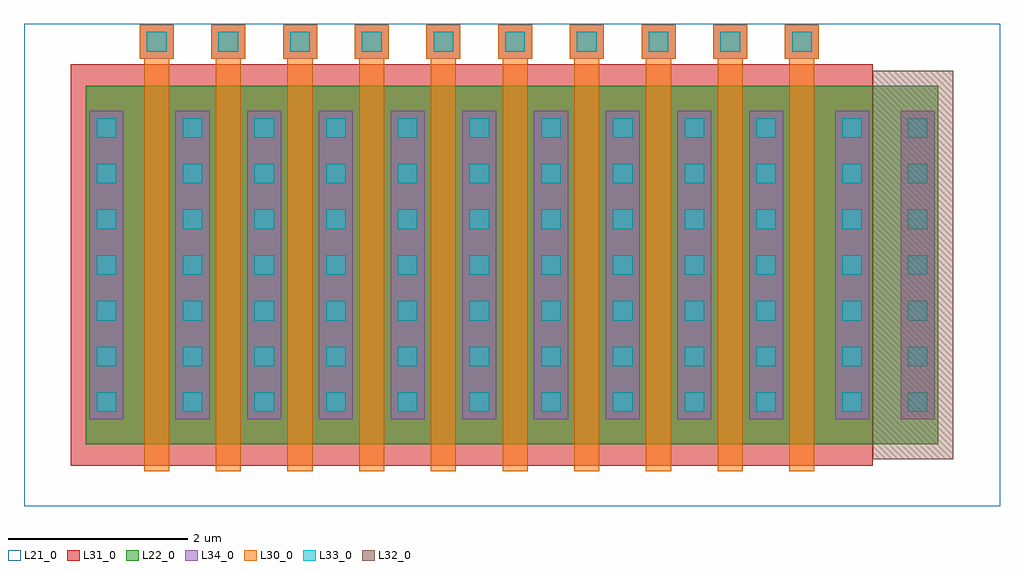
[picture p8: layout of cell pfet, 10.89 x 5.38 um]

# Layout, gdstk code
import gdstk
lib = gdstk.Library(unit=1e-6, precision=1e-09)
def R(c, l, rs):  # rectangles x0, y0, x1, y1
    for r in rs: c.add(gdstk.rectangle(r[:2], r[2:], *l))
def A(c, l, x, y, w, h, nx, ny, dx, dy):  # array of equal rectangles
    R(c, l, [(x+i*dx, y+j*dy, x+i*dx+w, y+j*dy+h) for i in range(nx) for j in range(ny)])
L21_0 = (21, 0)
L22_0 = (22, 0)
L30_0 = (30, 0)
L31_0 = (31, 0)
L32_0 = (32, 0)
L33_0 = (33, 0)
L34_0 = (34, 0)

pfet = lib.new_cell('pfet')
R(pfet, L21_0, [(-1.15,-0.69,9.74,4.69)])
R(pfet, L22_0, [(-0.46,0,0,4), (0,0,7.86,4), (7.86,0,8.32,4), (8.32,0,9.05,4)])
A(pfet, L30_0, 0.19, -0.3, 0.28, 4.6, 10, 1, 0.8, 0)
A(pfet, L30_0, 0.14, 4.3, 0.38, 0.38, 10, 1, 0.8, 0)
R(pfet, L31_0, [(-0.63,-0.24,8.32,4.24)])
R(pfet, L32_0, [(8.32,-0.17,9.22,4.17)])
A(pfet, L33_0, -0.34, 0.36, 0.22, 0.22, 1, 7, 0, 0.51)
A(pfet, L33_0, 0.62, 0.36, 0.22, 0.22, 9, 7, 0.8, 0.51)
A(pfet, L33_0, 7.98, 0.36, 0.22, 0.22, 1, 7, 0, 0.51)
A(pfet, L33_0, 8.71, 0.36, 0.22, 0.22, 1, 7, 0, 0.51)
A(pfet, L33_0, 0.22, 4.38, 0.22, 0.22, 10, 1, 0.8, 0)
A(pfet, L34_0, 0.54, 0.28, 0.38, 3.44, 9, 1, 0.8, 0)
A(pfet, L34_0, 0.14, 4.3, 0.38, 0.38, 10, 1, 0.8, 0)
R(pfet, L34_0, [(-0.42,0.28,-0.04,3.72), (7.9,0.28,8.28,3.72), (8.63,0.28,9.01,3.72)])

lib.write_gds('pfet.gds')
